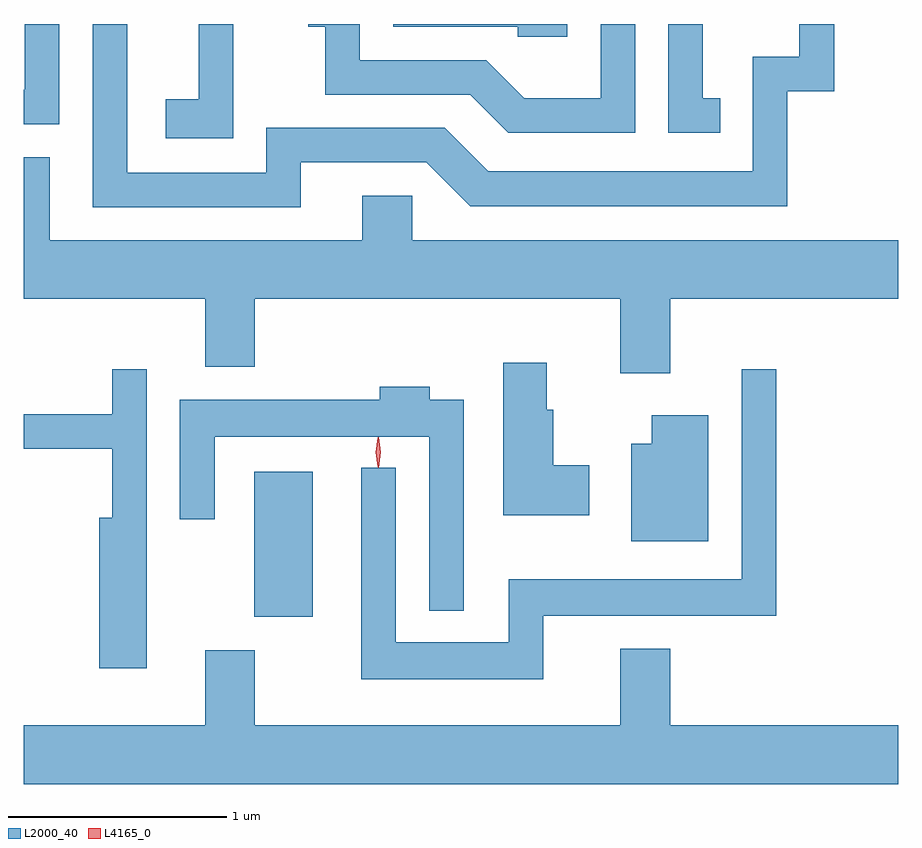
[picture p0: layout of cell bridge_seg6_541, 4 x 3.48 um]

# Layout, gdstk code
import gdstk
lib = gdstk.Library(unit=1e-6, precision=1e-09)
def R(c, l, rs):  # rectangles x0, y0, x1, y1
    for r in rs: c.add(gdstk.rectangle(r[:2], r[2:], *l))
def P(c, l, *ps):  # polygons
    for p in ps: c.add(gdstk.Polygon(p, *l))
L2000_40 = (2000, 40)
L4165_0 = (4165, 0)

bridge_seg6_541 = lib.new_cell('bridge_seg6_541')
R(bridge_seg6_541, L2000_40, [(485.366,1635.161,485.634,1635.824)])
P(bridge_seg6_541, L2000_40, [(487.109,1637.874),(486.951,1637.874),(486.951,1637.534),(486.602,1637.534),(486.427,1637.709),(485.849,1637.709),(485.849,1637.874),(485.613,1637.874),(485.613,1637.861),(485.691,1637.861),(485.691,1637.551),(486.354,1637.551),(486.529,1637.376),(487.109,1637.376)],
  [(485.269,1637.874),(485.111,1637.874),(485.111,1637.529),(484.961,1637.529),(484.961,1637.351),(485.269,1637.351)],
  [(486.799,1637.874),(486.001,1637.874),(486.001,1637.861),(486.571,1637.861),(486.571,1637.816),(486.799,1637.816)],
  [(485.579,1637.241),(486.154,1637.241),(486.354,1637.041),(487.804,1637.041),(487.804,1637.566),(488.019,1637.566),(488.019,1637.874),(487.861,1637.874),(487.861,1637.724),(487.646,1637.724),(487.646,1637.199),(486.437,1637.199),(486.237,1637.399),(485.421,1637.399),(485.421,1637.194),(484.784,1637.194),(484.784,1637.874),(484.626,1637.874),(484.626,1637.036),(485.579,1637.036)],
  [(484.474,1637.874),(484.316,1637.874),(484.316,1637.574),(484.312,1637.574),(484.312,1637.416),(484.474,1637.416)],
  [(487.498,1637.534),(487.419,1637.534),(487.419,1637.874),(487.261,1637.874),(487.261,1637.376),(487.498,1637.376)],
  [(487.269,1636.616),(488.312,1636.616),(488.312,1636.884),(486.089,1636.884),(486.089,1637.089),(485.861,1637.089),(485.861,1636.884),(484.429,1636.884),(484.429,1637.264),(484.312,1637.264),(484.312,1636.616),(485.141,1636.616),(485.141,1636.306),(485.369,1636.306),(485.369,1636.616),(487.041,1636.616),(487.041,1636.276),(487.269,1636.276)],
  [(486.899,1635.854),(486.734,1635.854),(486.734,1636.109),(486.704,1636.109),(486.704,1636.324),(486.506,1636.324),(486.506,1635.626),(486.899,1635.626)],
  [(484.874,1636.293),(484.716,1636.293),(484.716,1636.089),(484.312,1636.089),(484.312,1635.931),(484.716,1635.931),(484.716,1635.614),(484.656,1635.614),(484.656,1634.926),(484.874,1634.926)],
  [(486.689,1635.166),(487.754,1635.166),(487.754,1636.293),(487.596,1636.293),(487.596,1635.334),(486.531,1635.334),(486.531,1635.044),(486.014,1635.044),(486.014,1635.843),(485.856,1635.843),(485.856,1634.876),(486.689,1634.876)],
  [(486.324,1636.154),(486.169,1636.154),(486.169,1636.214),(485.941,1636.214),(485.941,1636.154),(485.026,1636.154),(485.026,1635.608),(485.184,1635.608),(485.184,1635.986),(486.166,1635.986),(486.166,1635.188),(486.324,1635.188)],
  [(487.444,1636.084),(487.186,1636.084),(487.186,1635.954),(487.091,1635.954),(487.091,1635.506),(487.444,1635.506)],
  [(488.312,1634.664),(487.269,1634.664),(487.269,1635.014),(487.041,1635.014),(487.041,1634.664),(485.369,1634.664),(485.369,1635.009),(485.141,1635.009),(485.141,1634.664),(484.312,1634.664),(484.312,1634.396),(488.312,1634.396)])
P(bridge_seg6_541, L4165_0, [(485.934,1635.844),(485.925,1635.914),(485.934,1635.982),(485.935,1635.983),(485.935,1635.982),(485.945,1635.914),(485.935,1635.844),(485.935,1635.844)],
  [(485.932,1635.847),(485.932,1635.848),(485.922,1635.914),(485.932,1635.98),(485.932,1635.98),(485.932,1635.98),(485.942,1635.914),(485.933,1635.848)])

lib.write_gds('bridge_seg6_541.gds')
